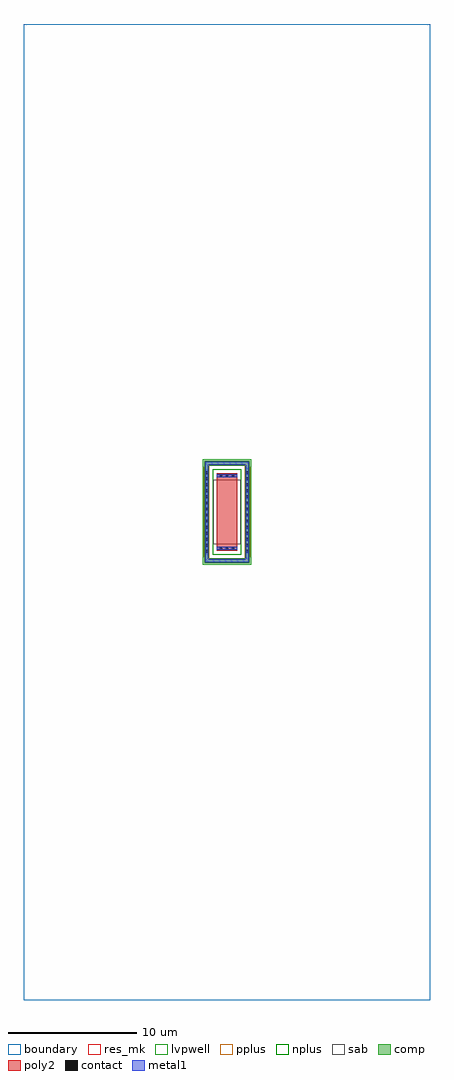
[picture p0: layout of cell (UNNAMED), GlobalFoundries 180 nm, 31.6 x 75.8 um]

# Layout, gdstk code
import gdstk
lib = gdstk.Library(unit=1e-6, precision=1e-09)
def R(c, l, rs):  # rectangles x0, y0, x1, y1
    for r in rs: c.add(gdstk.rectangle(r[:2], r[2:], *l))
def A(c, l, x, y, w, h, nx, ny, dx, dy):  # array of equal rectangles
    R(c, l, [(x+i*dx, y+j*dy, x+i*dx+w, y+j*dy+h) for i in range(nx) for j in range(ny)])
boundary = (0, 0)
comp = (22, 0)
poly2 = (30, 0)
pplus = (31, 0)
nplus = (32, 0)
contact = (33, 0)
metal1 = (34, 0)
sab = (49, 0)
res_mk = (110, 5)
lvpwell = (204, 0)

c__unnamed_ = lib.new_cell('(UNNAMED)')
R(c__unnamed_, boundary, [(-15.8,-37.9,15.8,37.9)])
R(c__unnamed_, comp, [(-1.76,-3.97,1.76,-3.61), (-1.76,-3.61,-1.4,3.61), (1.4,-3.61,1.76,3.61), (-1.76,3.61,1.76,3.97)])
R(c__unnamed_, poly2, [(-0.8,-3.01,0.8,3.01)])
R(c__unnamed_, pplus, [(-1.78,-3.99,1.78,-3.59), (-1.78,-3.59,-1.37,-3.485), (1.37,-3.59,1.78,-3.485), (-1.79,-3.485,-1.37,3.485), (1.37,-3.485,1.79,3.485), (-1.78,3.485,-1.37,3.59), (1.37,3.485,1.78,3.59), (-1.78,3.59,1.78,3.99)])
R(c__unnamed_, nplus, [(-1.1,-3.31,1.1,3.31)])
A(c__unnamed_, contact, -1.69, -3.165, 0.22, 0.22, 1, 14, 0, 0.47)
A(c__unnamed_, contact, 1.47, -3.165, 0.22, 0.22, 1, 14, 0, 0.47)
A(c__unnamed_, contact, -0.58, -2.94, 0.22, 0.22, 3, 2, 0.47, 5.66)
R(c__unnamed_, metal1, [(-1.695,-3.905,1.695,-3.675), (-1.695,-3.675,-1.465,3.675), (1.465,-3.675,1.695,3.675), (-0.79,-2.945,0.79,-2.715), (-0.79,2.715,0.79,2.945), (-1.695,3.675,1.695,3.905)])
R(c__unnamed_, sab, [(-1.08,-2.5,1.08,2.5)])
R(c__unnamed_, res_mk, [(-0.8,-2.5,0.8,2.5)])
R(c__unnamed_, lvpwell, [(-1.88,-4.09,1.88,4.09)])

lib.write_gds('_UNNAMED_.gds')
